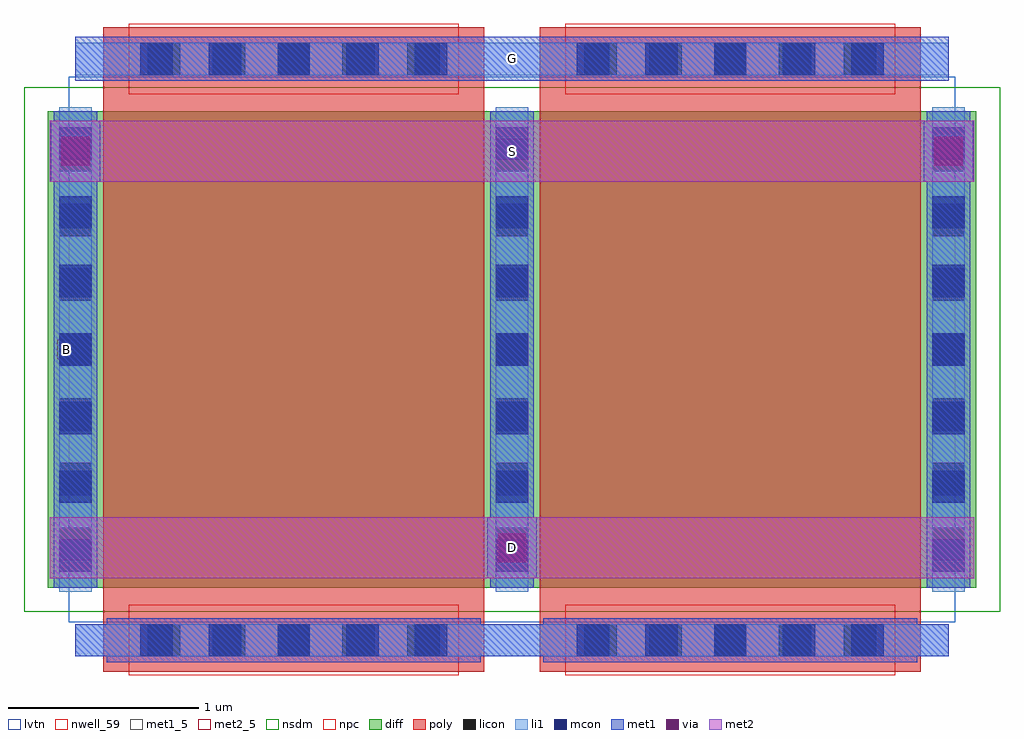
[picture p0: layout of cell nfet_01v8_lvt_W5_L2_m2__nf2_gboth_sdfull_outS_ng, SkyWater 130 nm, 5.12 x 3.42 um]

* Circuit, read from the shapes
.subckt nfet_01v8_lvt_W5_L2_m2__nf2_gboth_sdfull_outS_ng B D G S
XM1 D G S B sky130_fd_pr__nfet_01v8_lvt w=2.5 l=2 m=2
.ends

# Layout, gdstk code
import gdstk
lib = gdstk.Library(unit=1e-6, precision=1e-09)
def R(c, l, rs):  # rectangles x0, y0, x1, y1
    for r in rs: c.add(gdstk.rectangle(r[:2], r[2:], *l))
def A(c, l, x, y, w, h, nx, ny, dx, dy):  # array of equal rectangles
    R(c, l, [(x+i*dx, y+j*dy, x+i*dx+w, y+j*dy+h) for i in range(nx) for j in range(ny)])
nwell_59 = (64, 59)
diff = (65, 20)
poly = (66, 20)
licon = (66, 44)
li1 = (67, 20)
mcon = (67, 44)
met1_5 = (68, 5)
met1 = (68, 20)
via = (68, 44)
met2_5 = (69, 5)
met2 = (69, 20)
nsdm = (93, 44)
npc = (95, 20)
lvtn = (125, 44)

sky130_fd_pr__nfet_01v8_ = lib.new_cell('sky130_fd_pr__nfet_01v8_lvt_BK8RL9')
R(sky130_fd_pr__nfet_01v8_, diff, [(-2.435,-1.25,2.435,1.25)])
R(sky130_fd_pr__nfet_01v8_, poly, [(-2.145,-1.69,-0.145,1.69), (0.145,-1.69,2.145,1.69)])
A(sky130_fd_pr__nfet_01v8_, licon, -1.91, -1.61, 0.17, 0.17, 5, 2, 0.34, 3.05)
A(sky130_fd_pr__nfet_01v8_, licon, 0.38, -1.61, 0.17, 0.17, 5, 2, 0.34, 3.05)
A(sky130_fd_pr__nfet_01v8_, licon, -2.375, -1.105, 0.17, 0.17, 3, 7, 2.29, 0.34)
A(sky130_fd_pr__nfet_01v8_, li1, -2.375, -1.27, 0.17, 2.54, 3, 1, 2.29, 0)
R(sky130_fd_pr__nfet_01v8_, li1, [(-2.29,-1.61,2.29,-1.44), (-2.29,1.44,2.29,1.61)])
A(sky130_fd_pr__nfet_01v8_, mcon, -1.95, -1.61, 0.17, 0.17, 5, 2, 0.36, 3.05)
A(sky130_fd_pr__nfet_01v8_, mcon, 0.34, -1.61, 0.17, 0.17, 5, 2, 0.36, 3.05)
A(sky130_fd_pr__nfet_01v8_, mcon, -2.375, -1.165, 0.17, 0.17, 3, 7, 2.29, 0.36)
A(sky130_fd_pr__nfet_01v8_, met1, -2.405, -1.25, 0.23, 2.5, 3, 1, 2.29, 0)
R(sky130_fd_pr__nfet_01v8_, met1, [(-2.125,-1.64,-0.165,-1.61), (0.165,-1.64,2.125,-1.61), (-2.29,-1.61,2.29,-1.44), (-2.125,-1.44,-0.165,-1.41), (0.165,-1.44,2.125,-1.41), (-2.125,1.41,-0.165,1.44), (0.165,1.41,2.125,1.44), (-2.29,1.44,2.29,1.61), (-2.125,1.61,-0.165,1.64), (0.165,1.61,2.125,1.64)])
R(sky130_fd_pr__nfet_01v8_, nsdm, [(-2.56,-1.375,2.56,1.375)])
R(sky130_fd_pr__nfet_01v8_, npc, [(-2.01,-1.71,-0.28,-1.34), (0.28,-1.71,2.01,-1.34), (-2.01,1.34,-0.28,1.71), (0.28,1.34,2.01,1.71)])
R(sky130_fd_pr__nfet_01v8_, lvtn, [(-2.325,-1.43,2.325,1.43)])
sky130_fd_pr__nfet_01v8_.add(gdstk.Label('D0', (-2.29,0), layer=67, texttype=5))
sky130_fd_pr__nfet_01v8_.add(gdstk.Label('G', (1.145,1.525), layer=67, texttype=5))
sky130_fd_pr__nfet_01v8_.add(gdstk.Label('G', (-1.145,1.525), layer=67, texttype=5))
sky130_fd_pr__nfet_01v8_.add(gdstk.Label('S1', (0,0), layer=67, texttype=5))

nfet_01v8_lvt_w5_l2_m2__ = lib.new_cell('nfet_01v8_lvt_W5_L2_m2__nf2_gboth_sdfull_outS_ng')
R(nfet_01v8_lvt_w5_l2_m2__, nwell_59, [(0.05,1.64,0.15,1.74)])
R(nfet_01v8_lvt_w5_l2_m2__, met1_5, [(0.145,3.1,4.725,3.33)])
R(nfet_01v8_lvt_w5_l2_m2__, met1, [(2.305,0.49,2.565,0.81), (0.015,2.57,0.275,2.89), (4.595,2.57,4.855,2.89), (0.145,3.1,4.725,3.33)])
R(nfet_01v8_lvt_w5_l2_m2__, via, [(2.36,0.575,2.51,0.725), (0.07,2.655,0.22,2.805), (4.65,2.655,4.8,2.805)])
R(nfet_01v8_lvt_w5_l2_m2__, met2_5, [(0.01,0.49,4.86,0.81), (0.01,2.57,4.86,2.89)])
R(nfet_01v8_lvt_w5_l2_m2__, met2, [(0.01,0.49,4.86,0.81), (0.01,2.57,4.86,2.89)])
nfet_01v8_lvt_w5_l2_m2__.add(gdstk.Reference(sky130_fd_pr__nfet_01v8_, (2.435,1.69)))
nfet_01v8_lvt_w5_l2_m2__.add(gdstk.Label('S', (2.435,2.73), layer=69, texttype=5))
nfet_01v8_lvt_w5_l2_m2__.add(gdstk.Label('D', (2.435,0.65), layer=69, texttype=5))
nfet_01v8_lvt_w5_l2_m2__.add(gdstk.Label('G', (2.435,3.215), layer=68, texttype=5))
nfet_01v8_lvt_w5_l2_m2__.add(gdstk.Label('B', (0.1,1.69), layer=64, texttype=59))

lib.write_gds('nfet_01v8_lvt_W5_L2_m2__nf2_gboth_sdfull_outS_ng.gds')
